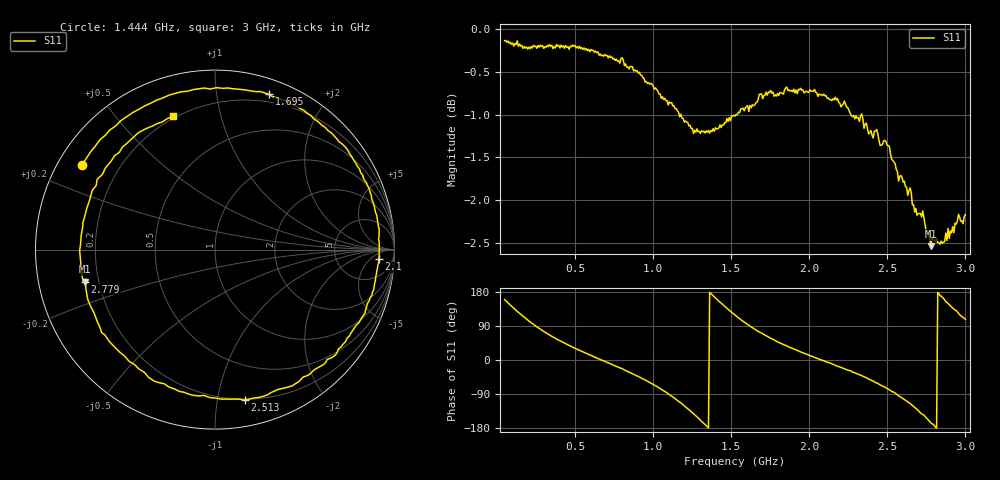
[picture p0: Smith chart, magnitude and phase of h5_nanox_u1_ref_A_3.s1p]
! nanovna_capture.py 2026-10-18T19:53:01+0900
! NanoVNA-F_V2 fw 0.6.0 SN 4A3639384505514B
! cal: load open short cal'ed  over 50000000-3000000000 Hz, 201 points
! points 401, avg 4
! h5 probe, tape spacer, genuine Nano X u1, position A (behind left button), placement 3
# HZ S RI R 50
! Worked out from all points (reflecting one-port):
!   401 points, 50 MHz to 3 GHz, reference 50 ohm
!   lowest |S11| = -2.5 dB at 2.779 GHz (marker M1), VSWR 6.88, Z = 7.37 - j5.94 ohm
!   phase of S11 starts at 159 deg and turns -772 deg over the sweep
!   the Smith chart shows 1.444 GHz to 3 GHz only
!   S11 on the Smith chart (normalised r, x): 1.444 GHz: 0.07, +0.29; 1.695 GHz: 0.13, +1.40; 2.1 GHz: 16, -10; 2.513 GHz: 0.19, -1.20; 2.779 GHz: 0.15, -0.12; 3 GHz: 0.19, +0.72
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5e7  -0.922 0.3453
1.385e8  -0.5702 0.7936
2.19625e8  -0.1447 0.966
3.08125e8  0.277 0.9366
4.1875e8  0.6572 0.7216
6.03125e8  0.9515 0.2029
7.875e8  0.8936 -0.3371
9.055e8  0.6834 -0.6492
1.001375e9  0.3957 -0.8373
1.15625e9  -0.2573 -0.8579
1.23e9  -0.5752 -0.6627
1.3185e9  -0.8399 -0.2294
1.384875e9  -0.8598 0.1588
1.443875e9  -0.7407 0.4728
1.525e9  -0.4221 0.7828
1.591375e9  -0.1229 0.8911
1.694625e9  0.3014 0.8655
1.89375e9  0.7922 0.4658
2.10025e9  0.9124 -0.0536
2.2625e9  0.7876 -0.4203
2.373125e9  0.5784 -0.6555
2.51325e9  0.1659 -0.8375
2.63125e9  -0.2825 -0.7476
2.71975e9  -0.6146 -0.4742
2.77875e9  -0.7245 -0.1786
2.874625e9  -0.6834 0.3315
2.948375e9  -0.4643 0.6164
3e9  -0.2343 0.7427
